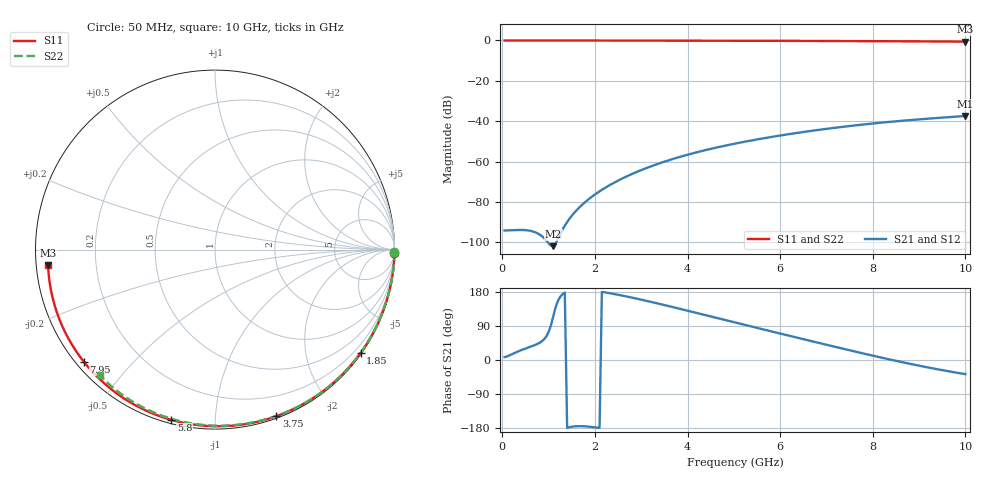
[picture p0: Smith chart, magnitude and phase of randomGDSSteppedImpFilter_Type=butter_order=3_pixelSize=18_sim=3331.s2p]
! freq	dB(S11)	phase(S11)	dB(S12)	phase(S12)
!  dB(S21)	phase(S21)	dB(S22)	phase(S22)
!S-par simulation data
#  GHz  S  DB  R 50
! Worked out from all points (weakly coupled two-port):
!   200 points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, 50 MHz to 10 GHz, reference 50 ohm
!   highest |S21| = -37.40 dB at 10 GHz (marker M1); lowest = -101.9 dB at 1.1 GHz (marker M2)
!   lowest |S11| = -0.6 dB at 10 GHz (marker M3), VSWR 29.30, Z = 1.71 - j2.3 ohm
!   |S11| at or under -10 dB: nowhere
!   |S22| runs from -0.4 to 0.0 dB; largest |S21 - S12| = 0
!   S11 on the Smith chart (normalised r, x): 50 MHz: open; 1.85 GHz: 0.03, -3.13; 3.75 GHz: 0.02, -1.43; 5.8 GHz: 0.02, -0.78; 7.95 GHz: 0.02, -0.37; 10 GHz: 0.03, -0.05
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0.05  -0.00 -1.0  -94.13 7.7  -94.13 7.7  -0.00 -0.8
0.55  -0.01 -10.7  -94.08 32.4  -94.08 32.4  -0.01 -8.4
1.1  -0.03 -21.2  -101.90 114.8  -101.90 114.8  -0.02 -16.7
1.75  -0.04 -33.5  -80.85 -174.9  -80.85 -174.9  -0.03 -26.3
1.8  -0.04 -34.5  -79.86 -175.2  -79.86 -175.2  -0.03 -27.0
1.85  -0.05 -35.4  -78.91 -175.7  -78.91 -175.7  -0.04 -27.8
2  -0.05 -38.2  -76.30 -177.7  -76.30 -177.7  -0.04 -30.0
2.15  -0.05 -41.0  -73.99 179.7  -73.99 179.7  -0.04 -32.2
2.5  -0.06 -47.4  -69.42 172.2  -69.42 172.2  -0.05 -37.3
2.9  -0.07 -54.7  -65.15 162.0  -65.15 162.0  -0.06 -43.0
3.4  -0.08 -63.6  -60.81 148.0  -60.81 148.0  -0.07 -50.1
3.75  -0.10 -69.8  -58.25 137.6  -58.25 137.6  -0.07 -55.0
4.4  -0.12 -81.0  -54.25 118.0  -54.25 118.0  -0.09 -63.9
5.05  -0.14 -92.0  -50.98 98.3  -50.98 98.3  -0.11 -72.5
5.8  -0.18 -104.4  -47.84 75.8  -47.84 75.8  -0.14 -82.2
6.25  -0.21 -111.7  -46.20 62.4  -46.20 62.4  -0.16 -87.9
6.7  -0.24 -119.0  -44.70 49.0  -44.70 49.0  -0.18 -93.5
7.3  -0.28 -128.8  -42.92 31.4  -42.92 31.4  -0.21 -100.8
7.95  -0.34 -139.3  -41.26 12.8  -41.26 12.8  -0.26 -108.5
8.35  -0.38 -146.0  -40.36 1.8  -40.36 1.8  -0.29 -113.2
9.2  -0.48 -160.4  -38.73 -19.9  -38.73 -19.9  -0.36 -123.2
10  -0.59 -174.7  -37.40 -37.3  -37.40 -37.3  -0.45 -132.6
